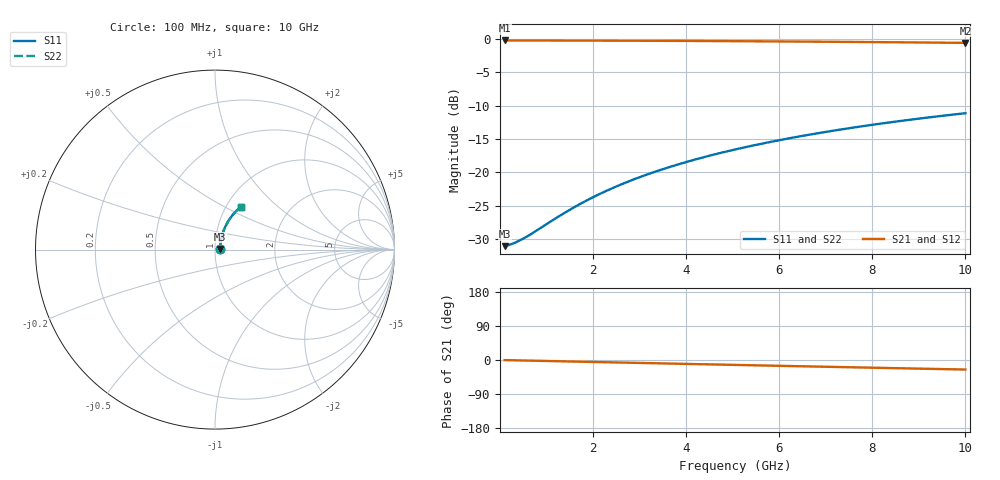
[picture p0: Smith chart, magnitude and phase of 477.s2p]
# Hz S RI R 50.00
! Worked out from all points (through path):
!   100 points, 100 MHz to 10 GHz, reference 50 ohm
!   highest |S21| = -0.25 dB at 100 MHz (marker M1); lowest = -0.6 dB at 10 GHz (marker M2)
!   group delay of S21, straight-line fit = 7 ps
!   lowest |S11| = -31.0 dB at 100 MHz (marker M3), VSWR 1.06, Z = 52.9 + j0.297 ohm
!   |S11| at or under -10 dB: start of sweep to end of sweep
!   |S22| runs from -31.0 to -11.1 dB; largest |S21 - S12| = 0
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1e8  0.0279 0.00281  0.972 -0.00438  0.972 -0.00438  0.0279 0.00281
2e8  0.0282 0.00561  0.9718 -0.00877  0.9718 -0.00877  0.0282 0.00561
3e8  0.0284 0.00841  0.9716 -0.0131  0.9716 -0.0131  0.0284 0.00841
5e8  0.0288 0.014  0.9712 -0.0219  0.9712 -0.0219  0.0288 0.014
7e8  0.0292 0.0196  0.9707 -0.0306  0.9707 -0.0306  0.0292 0.0196
1.2e9  0.0307 0.0335  0.9691 -0.0525  0.9691 -0.0525  0.0307 0.0335
1.4e9  0.0314 0.0391  0.9683 -0.0612  0.9683 -0.0612  0.0314 0.0391
1.8e9  0.0332 0.0501  0.9664 -0.0785  0.9664 -0.0785  0.0332 0.0501
2.2e9  0.0353 0.061  0.964 -0.0958  0.964 -0.0958  0.0353 0.061
2.6e9  0.0379 0.0719  0.9613 -0.113  0.9613 -0.113  0.0379 0.0719
3e9  0.0407 0.0826  0.9581 -0.13  0.9581 -0.13  0.0407 0.0826
3.4e9  0.044 0.0932  0.9545 -0.147  0.9545 -0.147  0.044 0.0932
3.8e9  0.0476 0.1037  0.9505 -0.1637  0.9505 -0.1637  0.0476 0.1037
4.2e9  0.0516 0.114  0.9461 -0.1804  0.9461 -0.1804  0.0516 0.114
4.6e9  0.0559 0.1241  0.9413 -0.1968  0.9413 -0.1968  0.0559 0.1241
5.1e9  0.0618 0.1365  0.9348 -0.2172  0.9348 -0.2172  0.0618 0.1365
5.9e9  0.0723 0.1556  0.9232 -0.249  0.9232 -0.249  0.0723 0.1556
6.7e9  0.084 0.1739  0.9102 -0.2799  0.9102 -0.2799  0.084 0.1739
7.5e9  0.0969 0.1911  0.8958 -0.3099  0.8958 -0.3099  0.0969 0.1911
8.4e9  0.1126 0.2092  0.8783 -0.3424  0.8783 -0.3424  0.1126 0.2092
9.2e9  0.1275 0.224  0.8615 -0.37  0.8615 -0.37  0.1275 0.224
1e10  0.1433 0.2377  0.8437 -0.3965  0.8437 -0.3965  0.1433 0.2377
